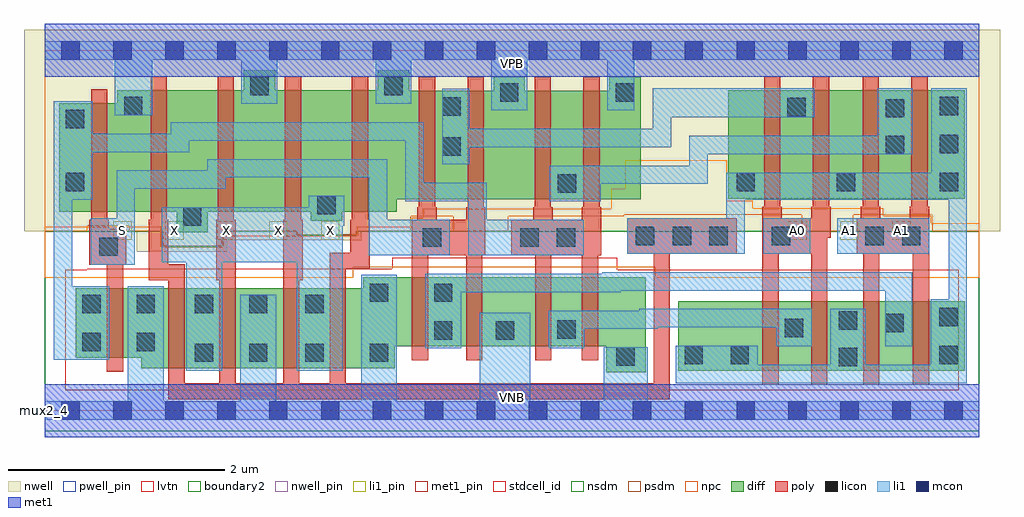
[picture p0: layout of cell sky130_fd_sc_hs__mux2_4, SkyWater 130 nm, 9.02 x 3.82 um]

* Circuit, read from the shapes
.subckt sky130_fd_sc_hs__mux2_4 A0 A1 S VGND VNB VPB VPWR X
XM1 VGND S n1 VNB sky130_fd_pr__nfet_01v8_lvt w=0.64 l=0.15
XM2 X n2 VGND VNB sky130_fd_pr__nfet_01v8_lvt w=0.74 l=0.15 m=4
XM3 n3 S VGND VNB sky130_fd_pr__nfet_01v8_lvt w=0.64 l=0.15 m=2
XM4 n4 n1 VGND VNB sky130_fd_pr__nfet_01v8_lvt w=0.64 l=0.15 m=2
XM5 n4 A0 n2 VNB sky130_fd_pr__nfet_01v8_lvt w=0.64 l=0.15 m=2
XM6 n3 A1 n2 VNB sky130_fd_pr__nfet_01v8_lvt w=0.64 l=0.15 m=2
XM7 VPWR S n1 VPB sky130_fd_pr__pfet_01v8 w=1 l=0.15
XM8 X n2 VPWR VPB sky130_fd_pr__pfet_01v8 w=1.12 l=0.15 m=4
XM9 n5 S VPWR VPB sky130_fd_pr__pfet_01v8 w=1 l=0.15 m=2
XM10 n6 n1 VPWR VPB sky130_fd_pr__pfet_01v8 w=1 l=0.15 m=2
XM11 n5 A0 n2 VPB sky130_fd_pr__pfet_01v8 w=1 l=0.15 m=2
XM12 n6 A1 n2 VPB sky130_fd_pr__pfet_01v8 w=1 l=0.15 m=2
.ends

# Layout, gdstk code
import gdstk
lib = gdstk.Library(unit=1e-6, precision=1e-09)
def R(c, l, rs):  # rectangles x0, y0, x1, y1
    for r in rs: c.add(gdstk.rectangle(r[:2], r[2:], *l))
def A(c, l, x, y, w, h, nx, ny, dx, dy):  # array of equal rectangles
    R(c, l, [(x+i*dx, y+j*dy, x+i*dx+w, y+j*dy+h) for i in range(nx) for j in range(ny)])
def P(c, l, *ps):  # polygons
    for p in ps: c.add(gdstk.Polygon(p, *l))
nwell_pin = (64, 16)
nwell = (64, 20)
diff = (65, 20)
poly = (66, 20)
licon = (66, 44)
li1_pin = (67, 16)
li1 = (67, 20)
mcon = (67, 44)
met1_pin = (68, 16)
met1 = (68, 20)
stdcell_id = (81, 4)
nsdm = (93, 44)
psdm = (94, 20)
npc = (95, 20)
pwell_pin = (122, 16)
lvtn = (125, 44)
boundary2 = (236, 0)

sky130_fd_sc_hs__mux2_4 = lib.new_cell('sky130_fd_sc_hs__mux2_4')
R(sky130_fd_sc_hs__mux2_4, nwell_pin, [(0,3.085,8.64,3.33)])
P(sky130_fd_sc_hs__mux2_4, nwell, [(8.83,3.52),(-0.19,3.52),(-0.19,1.66),(0.85,1.66),(0.85,1.47),(1.69,1.47),(1.69,1.575),(2.93,1.575),(2.93,1.66),(8.83,1.66)])
R(sky130_fd_sc_hs__mux2_4, diff, [(5.855,0.37,8.505,1.01), (6.32,1.96,8.505,2.96)])
P(sky130_fd_sc_hs__mux2_4, diff, [(5.51,3.085),(5.22,3.085),(5.22,2.955),(4.44,2.955),(4.44,3.085),(4.15,3.085),(4.15,2.955),(3.37,2.955),(3.37,3.145),(3.08,3.145),(3.08,2.96),(2.13,2.96),(2.13,3.145),(1.84,3.145),(1.84,2.96),(0.67,2.96),(0.67,2.84),(0.135,2.84),(0.135,1.84),(1.22,1.84),(1.22,1.65),(1.51,1.65),(1.51,1.84),(2.46,1.84),(2.46,1.755),(2.75,1.755),(2.75,1.84),(3.255,1.84),(3.255,1.955),(5.51,1.955)],
  [(5.555,1.235),(2.945,1.235),(2.945,1.13),(0.29,1.13),(0.29,0.49),(0.895,0.49),(0.895,0.39),(3.235,0.39),(3.235,0.595),(5.19,0.595),(5.19,0.355),(5.555,0.355)])
P(sky130_fd_sc_hs__mux2_4, poly, [(0.755,1.68),(0.595,1.68),(0.595,1.765),(0.58,1.765),(0.58,2.97),(0.43,2.97),(0.43,1.765),(0.415,1.765),(0.415,1.35),(0.575,1.35),(0.575,0.36),(0.725,0.36),(0.725,1.35),(0.755,1.35)],
  [(4.075,1.88),(4.06,1.88),(4.06,3.085),(3.91,3.085),(3.91,1.88),(3.895,1.88),(3.895,1.765),(3.625,1.765),(3.625,1.88),(3.61,1.88),(3.61,3.085),(3.46,3.085),(3.46,1.88),(3.445,1.88),(3.445,1.765),(3.395,1.765),(3.395,0.465),(3.545,0.465),(3.545,1.435),(3.895,1.435),(3.895,0.465),(4.045,0.465),(4.045,1.435),(4.075,1.435)],
  [(8.175,1.885),(8.16,1.885),(8.16,3.09),(8.01,3.09),(8.01,1.885),(7.995,1.885),(7.995,1.78),(7.725,1.78),(7.725,1.885),(7.71,1.885),(7.71,3.09),(7.56,3.09),(7.56,1.885),(7.545,1.885),(7.545,1.78),(7.505,1.78),(7.505,1.45),(7.565,1.45),(7.565,0.24),(7.715,0.24),(7.715,1.45),(8.025,1.45),(8.025,0.24),(8.175,0.24)],
  [(7.265,1.885),(7.25,1.885),(7.25,3.09),(7.1,3.09),(7.1,1.885),(7.085,1.885),(7.085,1.78),(6.815,1.78),(6.815,1.885),(6.8,1.885),(6.8,3.09),(6.65,3.09),(6.65,1.885),(6.635,1.885),(6.635,0.24),(6.785,0.24),(6.785,1.45),(7.085,1.45),(7.085,0.24),(7.235,0.24),(7.235,1.6),(7.265,1.6)],
  [(6.395,1.78),(5.385,1.78),(5.385,1.45),(5.63,1.45),(5.63,0.255),(2.785,0.255),(2.785,1.31),(3.005,1.31),(3.005,1.765),(2.99,1.765),(2.99,3.09),(2.84,3.09),(2.84,1.765),(2.825,1.765),(2.825,1.46),(2.635,1.46),(2.635,0.255),(2.355,0.255),(2.355,1.205),(2.385,1.205),(2.385,1.765),(2.37,1.765),(2.37,3.09),(2.22,3.09),(2.22,1.765),(2.205,1.765),(2.205,0.255),(1.765,0.255),(1.765,1.765),(1.75,1.765),(1.75,3.09),(1.6,3.09),(1.6,1.765),(1.585,1.765),(1.585,1.205),(1.615,1.205),(1.615,0.255),(1.295,0.255),(1.295,1.355),(1.145,1.355),(1.145,1.765),(1.13,1.765),(1.13,3.09),(0.98,3.09),(0.98,1.765),(0.965,1.765),(0.965,1.205),(1.145,1.205),(1.145,0.105),(5.78,0.105),(5.78,1.45),(6.395,1.45)],
  [(5.145,1.88),(5.13,1.88),(5.13,3.085),(4.98,3.085),(4.98,1.88),(4.965,1.88),(4.965,1.765),(4.695,1.765),(4.695,1.88),(4.68,1.88),(4.68,3.085),(4.53,3.085),(4.53,1.88),(4.515,1.88),(4.515,1.765),(4.315,1.765),(4.315,1.435),(4.535,1.435),(4.535,0.465),(4.685,0.465),(4.685,1.435),(4.965,1.435),(4.965,0.465),(5.115,0.465),(5.115,1.435),(5.145,1.435)])
A(sky130_fd_sc_hs__mux2_4, licon, 5.465, 1.53, 0.17, 0.17, 3, 1, 0.34, 0)
A(sky130_fd_sc_hs__mux2_4, licon, 8.275, 2.03, 0.17, 0.17, 1, 3, 0, 0.35)
R(sky130_fd_sc_hs__mux2_4, licon, [(7.34,0.41,7.51,0.58), (5.285,0.415,5.455,0.585), (5.915,0.43,6.085,0.6), (6.34,0.43,6.51,0.6), (8.27,0.43,8.44,0.6), (1.39,0.45,1.56,0.62), (1.89,0.45,2.06,0.62), (2.41,0.45,2.58,0.62), (3.005,0.45,3.175,0.62), (0.35,0.55,0.52,0.72), (0.85,0.55,1.02,0.72), (3.6,0.655,3.77,0.825), (4.17,0.655,4.34,0.825), (4.74,0.665,4.91,0.835), (6.84,0.68,7.01,0.85), (7.77,0.725,7.94,0.895), (7.34,0.75,7.51,0.92), (8.27,0.78,8.44,0.95), (0.35,0.9,0.52,1.07), (0.85,0.9,1.02,1.07), (1.39,0.9,1.56,1.07), (1.89,0.9,2.06,1.07), (2.41,0.9,2.58,1.07), (3.005,1.005,3.175,1.175), (3.6,1.005,3.77,1.175), (0.505,1.43,0.675,1.6), (3.495,1.515,3.665,1.685), (4.395,1.515,4.565,1.685), (4.735,1.515,4.905,1.685), (6.72,1.53,6.89,1.7), (7.585,1.53,7.755,1.7), (7.925,1.53,8.095,1.7), (1.28,1.71,1.45,1.88), (2.52,1.815,2.69,1.985), (4.745,2.015,4.915,2.185), (0.195,2.03,0.365,2.2), (6.395,2.03,6.565,2.2), (7.32,2.03,7.49,2.2), (3.675,2.355,3.845,2.525), (7.775,2.37,7.945,2.54), (0.195,2.61,0.365,2.78), (7.775,2.71,7.945,2.88), (6.865,2.72,7.035,2.89), (3.675,2.725,3.845,2.895), (0.735,2.73,0.905,2.9), (4.21,2.855,4.38,3.025), (5.28,2.855,5.45,3.025), (1.9,2.915,2.07,3.085), (3.14,2.915,3.31,3.085)])
A(sky130_fd_sc_hs__mux2_4, li1_pin, 0.635, 1.58, 0.17, 0.17, 5, 1, 0.48, 0)
A(sky130_fd_sc_hs__mux2_4, li1_pin, 6.875, 1.58, 0.17, 0.17, 3, 1, 0.48, 0)
R(sky130_fd_sc_hs__mux2_4, li1, [(6.64,1.45,7.075,1.78), (7.325,1.45,8.175,1.78)])
P(sky130_fd_sc_hs__mux2_4, li1, [(2.77,1.985),(2.44,1.985),(2.44,1.88),(1.085,1.88),(1.085,1.37),(1.31,1.37),(1.31,0.37),(1.64,0.37),(1.64,1.37),(2.33,1.37),(2.33,0.37),(2.755,0.37),(2.755,1.71),(2.77,1.71)],
  [(3.745,1.765),(3.165,1.765),(3.165,2.325),(1.505,2.325),(1.505,2.22),(0.665,2.22),(0.665,1.78),(0.425,1.78),(0.425,1.35),(0.835,1.35),(0.835,2.05),(1.675,2.05),(1.675,2.155),(2.995,2.155),(2.995,1.435),(3.745,1.435)],
  [(4.985,1.765),(4.085,1.765),(4.085,2.105),(3.505,2.105),(3.505,2.665),(1.165,2.665),(1.165,2.56),(0.445,2.56),(0.445,2.86),(0.085,2.86),(0.085,0.47),(0.6,0.47),(0.6,1.15),(0.255,1.15),(0.255,1.95),(0.445,1.95),(0.445,2.39),(1.335,2.39),(1.335,2.495),(3.335,2.495),(3.335,1.935),(3.915,1.935),(3.915,1.435),(4.985,1.435)],
  [(7.09,0.94),(5.495,0.94),(5.495,0.925),(4.66,0.925),(4.66,0.575),(4.99,0.575),(4.99,0.755),(5.665,0.755),(5.665,0.77),(6.76,0.77),(6.76,0.595),(7.09,0.595)],
  [(7.115,2.98),(5.62,2.98),(5.62,2.605),(3.925,2.605),(3.925,2.975),(3.675,2.975),(3.675,2.275),(3.925,2.275),(3.925,2.435),(5.79,2.435),(5.79,2.71),(7.115,2.71)],
  [(8.64,0.085),(5.575,0.085),(5.575,0.585),(5.17,0.585),(5.17,0.085),(4.49,0.085),(4.49,0.905),(4.02,0.905),(4.02,0.085),(3.255,0.085),(3.255,1.255),(2.925,1.255),(2.925,0.085),(2.14,0.085),(2.14,1.07),(1.81,1.07),(1.81,0.085),(1.1,0.085),(1.1,1.15),(0.77,1.15),(0.77,0.085),(0,0.085),(0,-0.085),(8.64,-0.085)],
  [(8.02,1.28),(5.155,1.28),(5.155,1.265),(3.52,1.265),(3.52,0.575),(3.85,0.575),(3.85,1.095),(5.325,1.095),(5.325,1.11),(7.77,1.11),(7.77,0.595),(8.02,0.595)],
  [(8.025,2.98),(7.695,2.98),(7.695,2.54),(5.96,2.54),(5.96,2.265),(4.665,2.265),(4.665,1.935),(5.14,1.935),(5.14,2.095),(6.13,2.095),(6.13,2.37),(8.025,2.37)],
  [(8.525,2.98),(8.195,2.98),(8.195,2.2),(6.3,2.2),(6.3,1.78),(5.385,1.78),(5.385,1.45),(6.47,1.45),(6.47,1.95),(8.355,1.95),(8.355,1.03),(8.19,1.03),(8.19,0.425),(7.59,0.425),(7.59,0.94),(7.26,0.94),(7.26,0.425),(6.59,0.425),(6.59,0.6),(5.835,0.6),(5.835,0.255),(8.525,0.255)],
  [(8.64,3.415),(0,3.415),(0,3.245),(0.65,3.245),(0.65,2.73),(0.995,2.73),(0.995,3.245),(1.82,3.245),(1.82,2.835),(2.15,2.835),(2.15,3.245),(3.06,3.245),(3.06,2.835),(3.39,2.835),(3.39,3.245),(4.13,3.245),(4.13,2.775),(4.46,2.775),(4.46,3.245),(5.2,3.245),(5.2,2.775),(5.45,2.775),(5.45,3.245),(8.64,3.245)])
A(sky130_fd_sc_hs__mux2_4, mcon, 0.155, -0.085, 0.17, 0.17, 18, 2, 0.48, 3.33)
R(sky130_fd_sc_hs__mux2_4, met1_pin, [(0,0,8.64,0.245), (0,3.085,8.64,3.33)])
R(sky130_fd_sc_hs__mux2_4, met1, [(0,-0.245,8.64,0.245), (0,3.085,8.64,3.575)])
R(sky130_fd_sc_hs__mux2_4, stdcell_id, [(0,0,8.64,3.33)])
P(sky130_fd_sc_hs__mux2_4, nsdm, [(8.64,1.66),(2.88,1.66),(2.88,1.625),(2.33,1.625),(2.33,1.66),(1.64,1.66),(1.64,1.52),(1.09,1.52),(1.09,1.66),(0,1.66),(0,-0.19),(8.64,-0.19)])
P(sky130_fd_sc_hs__mux2_4, psdm, [(8.64,3.52),(0,3.52),(0,1.66),(0.395,1.66),(0.395,1.71),(0.785,1.71),(0.785,1.66),(1.09,1.66),(1.09,1.52),(1.64,1.52),(1.64,1.66),(2.33,1.66),(2.33,1.625),(2.88,1.625),(2.88,1.66),(3.385,1.66),(3.385,1.795),(3.775,1.795),(3.775,1.66),(4.285,1.66),(4.285,1.795),(5.355,1.795),(5.355,1.81),(7,1.81),(7,1.66),(7.475,1.66),(7.475,1.81),(8.205,1.81),(8.205,1.66),(8.64,1.66)])
P(sky130_fd_sc_hs__mux2_4, npc, [(8.64,1.73),(8.195,1.73),(8.195,1.8),(7.75,1.8),(7.75,1.87),(6.545,1.87),(6.545,1.94),(6.305,1.94),(6.305,2.315),(5.365,2.315),(5.365,2.05),(5.235,2.05),(5.235,1.865),(3.5,1.865),(3.5,1.785),(3.395,1.785),(3.395,1.7),(2.89,1.7),(2.89,1.615),(1.65,1.615),(1.65,1.51),(1.08,1.51),(1.08,1.7),(0,1.7),(0,1.23),(2.855,1.23),(2.855,1.325),(5.645,1.325),(5.645,1.23),(8.64,1.23)])
R(sky130_fd_sc_hs__mux2_4, pwell_pin, [(0,0,8.64,0.245)])
P(sky130_fd_sc_hs__mux2_4, lvtn, [(8.45,1.3),(5.295,1.3),(5.295,1.415),(3.215,1.415),(3.215,1.31),(0.395,1.31),(0.395,1.3),(0.19,1.3),(0.19,0.19),(8.45,0.19)])
R(sky130_fd_sc_hs__mux2_4, boundary2, [(0,0,8.64,3.33)])
sky130_fd_sc_hs__mux2_4.add(gdstk.Label('mux2_4', (0,0), layer=83, texttype=44))
sky130_fd_sc_hs__mux2_4.add(gdstk.Label('VNB', (4.32,0.123), layer=64, texttype=59))
sky130_fd_sc_hs__mux2_4.add(gdstk.Label('VPB', (4.32,3.208), layer=64, texttype=5))
sky130_fd_sc_hs__mux2_4.add(gdstk.Label('VPWR', (4.32,3.208), layer=68, texttype=5))
sky130_fd_sc_hs__mux2_4.add(gdstk.Label('VGND', (4.32,0.123), layer=68, texttype=5))
sky130_fd_sc_hs__mux2_4.add(gdstk.Label('A0', (6.96,1.665), layer=67, texttype=5))
sky130_fd_sc_hs__mux2_4.add(gdstk.Label('A1', (7.44,1.665), layer=67, texttype=5))
sky130_fd_sc_hs__mux2_4.add(gdstk.Label('A1', (7.92,1.665), layer=67, texttype=5))
sky130_fd_sc_hs__mux2_4.add(gdstk.Label('X', (1.2,1.665), layer=67, texttype=5))
sky130_fd_sc_hs__mux2_4.add(gdstk.Label('X', (1.68,1.665), layer=67, texttype=5))
sky130_fd_sc_hs__mux2_4.add(gdstk.Label('X', (2.16,1.665), layer=67, texttype=5))
sky130_fd_sc_hs__mux2_4.add(gdstk.Label('X', (2.64,1.665), layer=67, texttype=5))
sky130_fd_sc_hs__mux2_4.add(gdstk.Label('S', (0.72,1.665), layer=67, texttype=5))

lib.write_gds('sky130_fd_sc_hs__mux2_4.gds')
